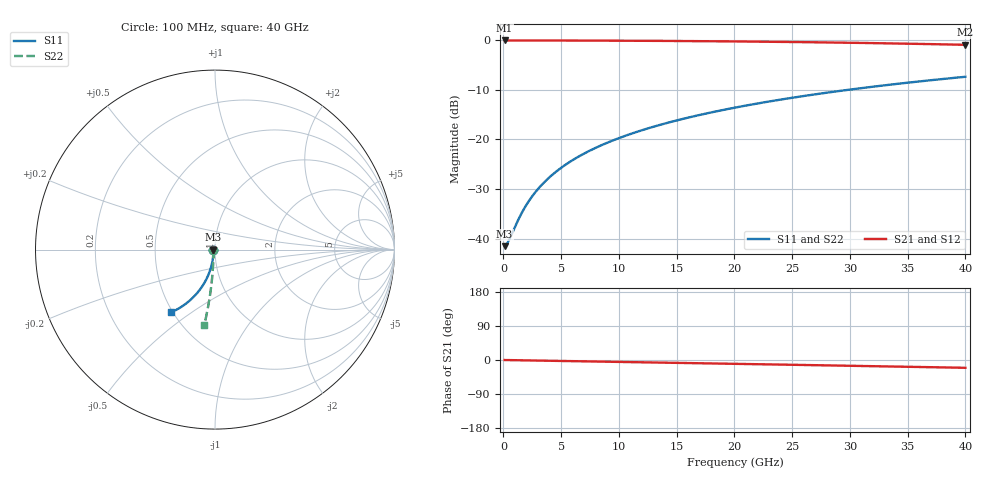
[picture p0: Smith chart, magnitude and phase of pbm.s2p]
! X_s8x2_L1L3_bd_d200: physics-based via model (prototype), ports at the via
# Hz S RI R 50
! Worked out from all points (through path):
!   400 points, 100 MHz to 40 GHz, reference 50 ohm
!   highest |S21| = -0.07 dB at 100 MHz (marker M1); lowest = -0.9 dB at 40 GHz (marker M2)
!   group delay of S21, straight-line fit = 1.43 ps
!   lowest |S11| = -41.5 dB at 100 MHz (marker M3), VSWR 1.02, Z = 49.2 - j0.0995 ohm
!   |S11| at or under -10 dB: start of sweep to 29.86 GHz
!   |S22| runs from -41.5 to -7.4 dB; largest |S21 - S12| = 0
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1e8  -0.00839 -0.00101  0.9916 -0.000854  0.9916 -0.000854  -0.00839 -0.00102
3e8  -0.0084 -0.00304  0.9916 -0.00256  0.9916 -0.00256  -0.00839 -0.00305
5e8  -0.00842 -0.00506  0.9916 -0.00427  0.9916 -0.00427  -0.00839 -0.00509
1.3e9  -0.00863 -0.0132  0.9915 -0.0111  0.9915 -0.0111  -0.00844 -0.0132
1.8e9  -0.00885 -0.0182  0.9913 -0.0154  0.9913 -0.0154  -0.00849 -0.0183
2.3e9  -0.00914 -0.0233  0.9911 -0.0196  0.9911 -0.0196  -0.00855 -0.0234
2.9e9  -0.00959 -0.0293  0.9909 -0.0248  0.9909 -0.0248  -0.00865 -0.0295
3.7e9  -0.0103 -0.0374  0.9904 -0.0316  0.9904 -0.0316  -0.00882 -0.0377
4.6e9  -0.0114 -0.0465  0.9897 -0.0392  0.9897 -0.0392  -0.00905 -0.0469
5.6e9  -0.0129 -0.0566  0.9888 -0.0478  0.9888 -0.0478  -0.00937 -0.0571
6.8e9  -0.015 -0.0687  0.9875 -0.058  0.9875 -0.058  -0.00984 -0.0694
8.2e9  -0.018 -0.0827  0.9856 -0.0699  0.9856 -0.0699  -0.0105 -0.0838
9.7e9  -0.0219 -0.0977  0.9832 -0.0826  0.9832 -0.0826  -0.0114 -0.0992
1.15e10  -0.0274 -0.1156  0.9797 -0.0979  0.9797 -0.0979  -0.0126 -0.1178
1.34e10  -0.0343 -0.1344  0.9754 -0.1139  0.9754 -0.1139  -0.0141 -0.1376
1.65e10  -0.0479 -0.1646  0.9669 -0.1399  0.9669 -0.1399  -0.0171 -0.1701
2.01e10  -0.0673 -0.1987  0.9546 -0.1696  0.9546 -0.1696  -0.0214 -0.2082
2.33e10  -0.088 -0.228  0.9415 -0.1955  0.9415 -0.1955  -0.026 -0.2424
2.67e10  -0.1134 -0.2576  0.9252 -0.2223  0.9252 -0.2223  -0.0317 -0.2791
2.99e10  -0.1406 -0.2837  0.9077 -0.2466  0.9077 -0.2466  -0.0377 -0.3138
3.34e10  -0.1738 -0.3098  0.8862 -0.2719  0.8862 -0.2719  -0.0449 -0.3517
4e10  -0.2454 -0.35  0.8393 -0.3149  0.8393 -0.3149  -0.0597 -0.4227
